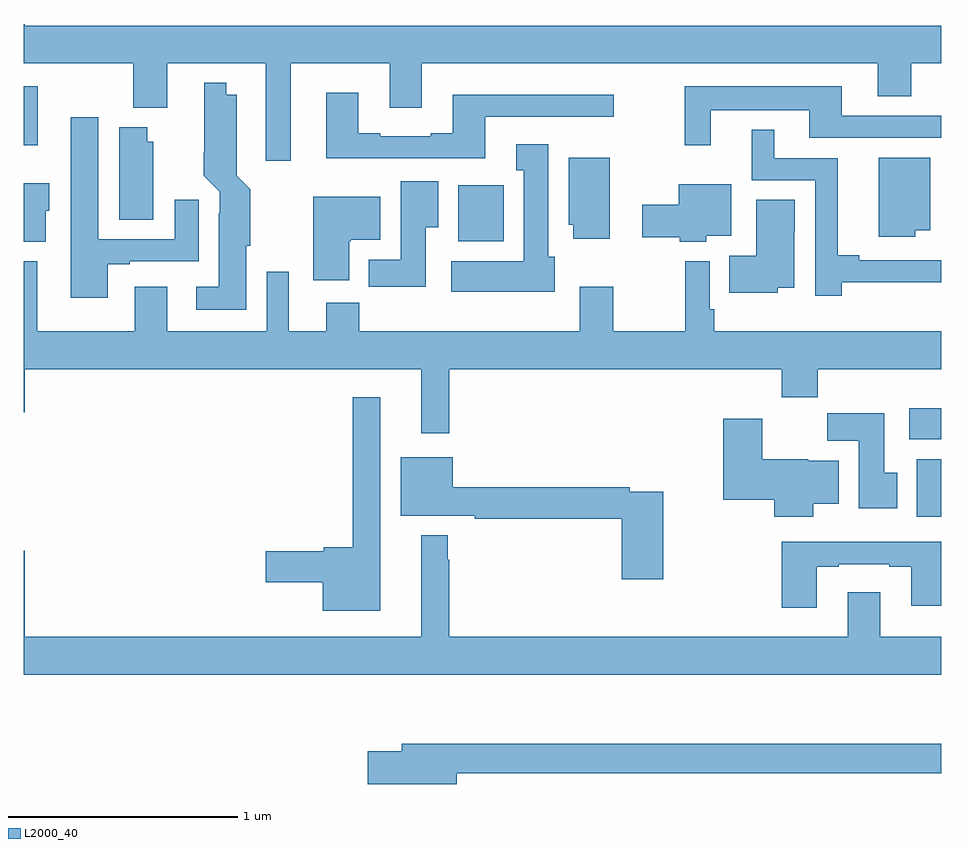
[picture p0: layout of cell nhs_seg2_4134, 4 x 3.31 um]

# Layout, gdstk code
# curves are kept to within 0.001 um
import gdstk
lib = gdstk.Library(unit=1e-6, precision=1e-09)
def R(c, l, rs):  # rectangles x0, y0, x1, y1
    for r in rs: c.add(gdstk.rectangle(r[:2], r[2:], *l))
def P(c, l, *ps):  # polygons
    for p in ps: c.add(gdstk.Polygon(p, *l))
L2000_40 = (2000, 40)

nhs_seg2_4134 = lib.new_cell('nhs_seg2_4134')
R(nhs_seg2_4134, L2000_40, [(336.893,653.652,337,653.902), (336.861,653.99,337,654.124), (334.895,654.854,335.092,655.096), (333,655.272,333.061,655.528)])
P(nhs_seg2_4134, L2000_40, [(334.165,655.628),(334.595,655.628),(334.595,655.434),(334.735,655.434),(334.735,655.628),(336.722,655.628),(336.722,655.486),(336.87,655.486),(336.87,655.628),(337,655.628),(337,655.792),(333.004,655.792),(333.004,655.8),(333,655.8),(333,655.628),(333.478,655.628),(333.478,655.436),(333.625,655.436),(333.625,655.628),(334.055,655.628),(334.055,655.203),(334.165,655.203)],
  [(333.97,654.834),(333.988,654.834),(333.988,655.079),(333.929,655.138),(333.928,655.492),(333.883,655.492),(333.883,655.543),(333.786,655.543),(333.785,655.138),(333.855,655.068),(333.855,654.974),(333.851,654.974),(333.851,654.655),(333.753,654.655),(333.753,654.554),(333.97,654.554)],
  [(335.995,655.424),(336.425,655.424),(336.425,655.305),(337,655.305),(337,655.401),(336.565,655.401),(336.565,655.528),(335.881,655.528),(335.881,655.272),(335.995,655.272)],
  [(334.547,655.215),(335.011,655.215),(335.011,655.395),(335.572,655.395),(335.572,655.492),(334.871,655.492),(334.871,655.324),(334.775,655.324),(334.775,655.311),(334.555,655.311),(334.555,655.324),(334.459,655.324),(334.459,655.501),(334.319,655.501),(334.319,655.214),(334.547,655.214)],
  [(333.367,654.753),(333.463,654.753),(333.463,654.765),(333.763,654.765),(333.763,655.033),(333.659,655.033),(333.659,654.861),(333.325,654.861),(333.325,655.393),(333.206,655.393),(333.206,654.606),(333.367,654.606)],
  [(333.565,655.287),(333.538,655.287),(333.538,655.351),(333.416,655.351),(333.416,654.946),(333.565,654.946)],
  [(336.566,654.674),(337,654.674),(337,654.771),(336.643,654.771),(336.643,654.791),(336.548,654.791),(336.548,655.215),(336.271,655.215),(336.271,655.339),(336.173,655.339),(336.173,655.119),(336.45,655.119),(336.45,654.615),(336.566,654.615)],
  [(335.314,654.786),(335.287,654.786),(335.287,655.276),(335.147,655.276),(335.147,655.163),(335.18,655.163),(335.18,654.766),(334.863,654.766),(334.863,654.632),(335.314,654.632)],
  [(335.554,655.216),(335.375,655.216),(335.375,654.924),(335.396,654.924),(335.396,654.864),(335.554,654.864)],
  [(336.886,654.902),(336.952,654.902),(336.952,655.216),(336.728,655.216),(336.728,654.872),(336.886,654.872)],
  [(334.753,654.913),(334.807,654.913),(334.807,655.114),(334.643,655.114),(334.643,654.772),(334.505,654.772),(334.505,654.654),(334.753,654.654)],
  [(333.097,654.987),(333.112,654.987),(333.112,655.105),(333,655.105),(333,654.851),(333.097,654.851)],
  [(335.976,654.878),(336.085,654.878),(336.085,655.102),(335.855,655.102),(335.855,655.013),(335.697,655.013),(335.697,654.871),(335.859,654.871),(335.859,654.851),(335.976,654.851)],
  [(334.42,654.854),(334.426,654.854),(334.426,654.86),(334.555,654.86),(334.555,655.048),(334.262,655.048),(334.262,654.684),(334.42,654.684)],
  [(336.288,654.65),(336.358,654.65),(336.358,654.894),(336.361,654.894),(336.361,655.034),(336.194,655.034),(336.194,654.79),(336.076,654.79),(336.076,654.629),(336.288,654.629)],
  [(333.485,654.655),(333.485,654.46),(333.058,654.46),(333.058,654.766),(333,654.766),(333,654.108),(333.004,654.108),(333.004,654.296),(334.733,654.296),(334.733,654.015),(334.855,654.015),(334.855,654.296),(336.305,654.296),(336.305,654.172),(336.461,654.172),(336.461,654.296),(337,654.296),(337,654.46),(336.011,654.46),(336.011,654.556),(335.991,654.556),(335.991,654.766),(335.883,654.766),(335.883,654.46),(335.571,654.46),(335.571,654.655),(335.423,654.655),(335.423,654.46),(334.463,654.46),(334.463,654.584),(334.319,654.584),(334.319,654.46),(334.156,654.46),(334.156,654.721),(334.059,654.721),(334.059,654.46),(333.625,654.46),(333.625,654.655)],
  [(334.555,654.172),(334.434,654.172),(334.434,653.519),(334.308,653.519),(334.308,653.501),(334.056,653.501),(334.056,653.366),(334.304,653.366),(334.304,653.243),(334.555,653.243)],
  [(336.808,653.844),(336.751,653.844),(336.751,654.103),(336.502,654.103),(336.502,653.984),(336.641,653.984),(336.641,653.688),(336.808,653.688)],
  [(336.442,653.708),(336.553,653.708),(336.553,653.896),(336.42,653.896),(336.42,653.902),(336.22,653.902),(336.22,654.079),(336.05,654.079),(336.05,653.726),(336.272,653.726),(336.272,653.651),(336.442,653.651)],
  [(335.789,653.76),(335.642,653.76),(335.642,653.78),(334.87,653.78),(334.87,653.911),(334.643,653.911),(334.643,653.657),(334.966,653.657),(334.966,653.644),(335.606,653.644),(335.606,653.379),(335.789,653.379)],
  [(337,653.128),(336.733,653.128),(336.733,653.323),(336.593,653.323),(336.593,653.128),(334.855,653.128),(334.855,653.465),(334.848,653.465),(334.848,653.572),(334.733,653.572),(334.733,653.128),(333.004,653.128),(333.004,653.503),(333,653.503),(333,652.964),(337,652.964)],
  [(336.457,653.433),(336.553,653.433),(336.553,653.445),(336.773,653.445),(336.773,653.433),(336.869,653.433),(336.869,653.264),(337,653.264),(337,653.542),(336.305,653.542),(336.305,653.256),(336.457,653.256)],
  [(334.888,652.534),(337,652.534),(337,652.663),(334.649,652.663),(334.649,652.629),(334.5,652.629),(334.5,652.487),(334.888,652.487)])

lib.write_gds('nhs_seg2_4134.gds')
